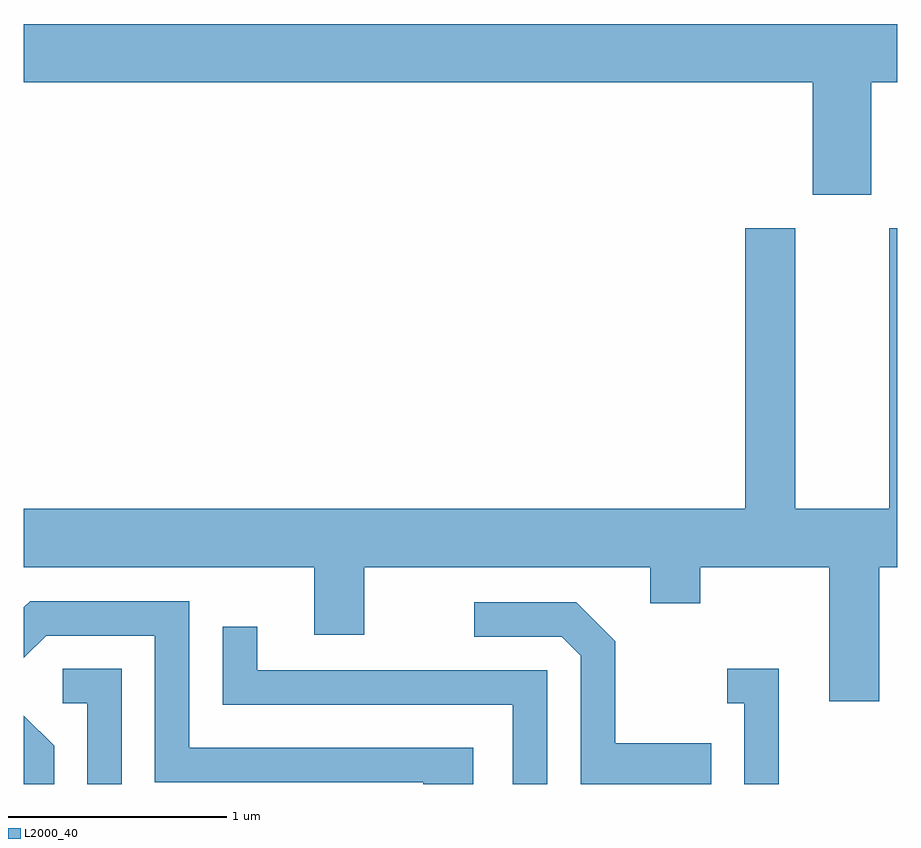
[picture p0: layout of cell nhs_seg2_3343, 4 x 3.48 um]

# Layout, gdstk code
import gdstk
lib = gdstk.Library(unit=1e-6, precision=1e-09)
def P(c, l, *ps):  # polygons
    for p in ps: c.add(gdstk.Polygon(p, *l))
L2000_40 = (2000, 40)

nhs_seg2_3343 = lib.new_cell('nhs_seg2_3343')
P(nhs_seg2_3343, L2000_40, [(287.494,1015.016),(287.611,1015.016),(287.611,1015.284),(283.611,1015.284),(283.611,1015.016),(287.226,1015.016),(287.226,1014.501),(287.494,1014.501)],
  [(287.529,1012.796),(287.611,1012.796),(287.611,1014.349),(287.576,1014.349),(287.576,1013.064),(287.144,1013.064),(287.144,1014.349),(286.916,1014.349),(286.916,1013.064),(283.611,1013.064),(283.611,1012.796),(284.941,1012.796),(284.941,1012.486),(285.169,1012.486),(285.169,1012.796),(286.481,1012.796),(286.481,1012.631),(286.709,1012.631),(286.709,1012.796),(287.301,1012.796),(287.301,1012.181),(287.529,1012.181)],
  [(285.669,1011.969),(284.369,1011.969),(284.369,1012.639),(283.639,1012.639),(283.611,1012.611),(283.611,1012.38),(283.712,1012.481),(284.211,1012.481),(284.211,1011.811),(285.441,1011.811),(285.441,1011.802),(285.669,1011.802)],
  [(286.759,1011.989),(286.319,1011.989),(286.319,1012.457),(286.142,1012.634),(285.673,1012.634),(285.673,1012.476),(286.074,1012.476),(286.161,1012.389),(286.161,1011.802),(286.759,1011.802)],
  [(286.009,1012.324),(284.679,1012.324),(284.679,1012.523),(284.521,1012.523),(284.521,1012.166),(285.851,1012.166),(285.851,1011.802),(286.009,1011.802)],
  [(287.069,1012.329),(286.833,1012.329),(286.833,1012.171),(286.911,1012.171),(286.911,1011.802),(287.069,1011.802)],
  [(284.059,1012.329),(283.788,1012.329),(283.788,1012.171),(283.901,1012.171),(283.901,1011.802),(284.059,1011.802)],
  [(283.749,1011.977),(283.611,1012.115),(283.611,1011.802),(283.749,1011.802)])

lib.write_gds('nhs_seg2_3343.gds')
